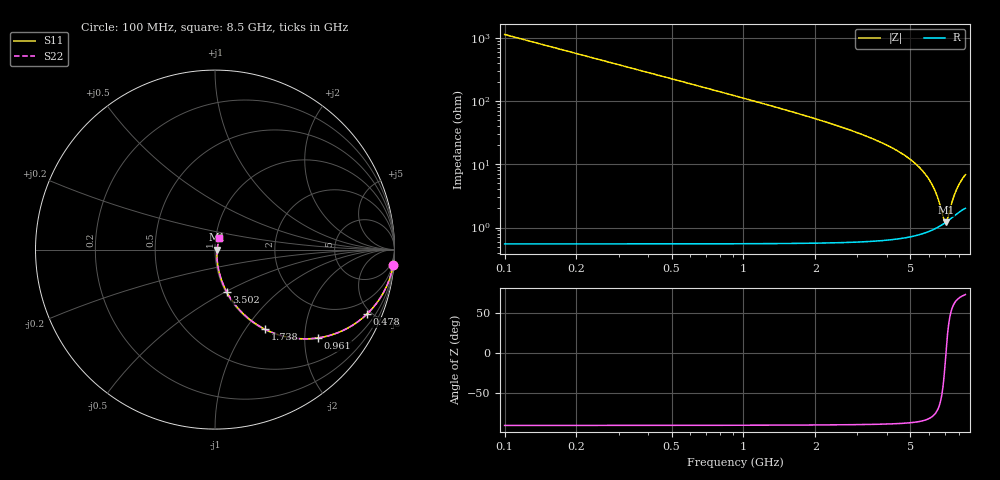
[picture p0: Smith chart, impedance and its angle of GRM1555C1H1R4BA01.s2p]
!Murata Part Number: GRM1555C1H1R4BA01
!These Parameters are Measured in Series Mode Connection
!Data Generated on Mar 30, 2021
!  o--ll--o
!Port1  Port2
!  o------o
!Operation Temp=25[degC], DC Bias Voltage=0[V]
!Freq. Start=100[MHz] Stop=9[GHz] 401[Steps]
# Hz S RI R 50
!Freq.(Hz) S11(Real) S11(Imag) S21(Real) S21(Imag) S12(Real) S12(Imag) S22(Real) S22(Imag)
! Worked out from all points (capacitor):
!   401 points, 100 MHz to 8.5 GHz, reference 50 ohm
!   read as one part in series: C = 1.4 pF near 142 MHz
!   lowest |Z| = 1.21 ohm at 7.03 GHz (marker M1)
!   series resonance near 7.046 GHz, so ESL is about 360 pH
!   S11 on the Smith chart (normalised r, x): 100 MHz: 1, -23; 478 MHz: 1.01, -4.74; 961 MHz: 1.01, -2.33; 1.738 GHz: 1.01, -1.24; 3.502 GHz: 1.01, -0.50; 8.5 GHz: 1.04, +0.13
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1e8  0.9923 -0.0873  0.00772 0.0873  0.00772 0.0873  0.9923 -0.0873
2.05e8  0.9683 -0.1747  0.0317 0.1747  0.0317 0.1747  0.9683 -0.1747
2.68e8  0.947 -0.2235  0.053 0.2235  0.053 0.2235  0.947 -0.2235
4.78e8  0.8481 -0.3577  0.1519 0.3577  0.1519 0.3577  0.8481 -0.3577
6.88e8  0.7279 -0.4434  0.2721 0.4434  0.2721 0.4434  0.7279 -0.4434
9.61e8  0.5747 -0.492  0.4253 0.492  0.4253 0.492  0.5747 -0.492
1.507e9  0.3448 -0.4715  0.6552 0.4715  0.6552 0.4715  0.3448 -0.4715
1.738e9  0.2785 -0.4437  0.7215 0.4437  0.7215 0.4437  0.2785 -0.4437
2.263e9  0.1751 -0.3738  0.8249 0.3738  0.8249 0.3738  0.1751 -0.3738
2.914e9  0.1022 -0.2942  0.8978 0.2942  0.8978 0.2942  0.1022 -0.2942
3.502e9  0.0644 -0.2337  0.9356 0.2337  0.9356 0.2337  0.0644 -0.2337
4.3e9  0.035 -0.1658  0.965 0.1658  0.965 0.1658  0.035 -0.1658
5.707e9  0.0133 -0.072  0.9867 0.072  0.9867 0.072  0.0133 -0.072
6.337e9  0.0108 -0.0366  0.9892 0.0366  0.9892 0.0366  0.0108 -0.0366
6.589e9  0.0108 -0.0232  0.9892 0.0232  0.9892 0.0232  0.0108 -0.0232
6.904e9  0.0114 -0.00703  0.9886 0.00703  0.9886 0.00703  0.0114 -0.00703
7.03e9  0.0119 -0.000765  0.9881 0.000765  0.9881 0.000765  0.0119 -0.000765
7.114e9  0.0123 0.00335  0.9877 -0.00335  0.9877 -0.00335  0.0123 0.00335
7.471e9  0.0145 0.0203  0.9855 -0.0203  0.9855 -0.0203  0.0145 0.0203
7.723e9  0.0166 0.0316  0.9834 -0.0316  0.9834 -0.0316  0.0166 0.0316
8.08e9  0.0199 0.0466  0.9801 -0.0466  0.9801 -0.0466  0.0199 0.0466
8.5e9  0.0238 0.0629  0.9762 -0.0629  0.9762 -0.0629  0.0238 0.0629
